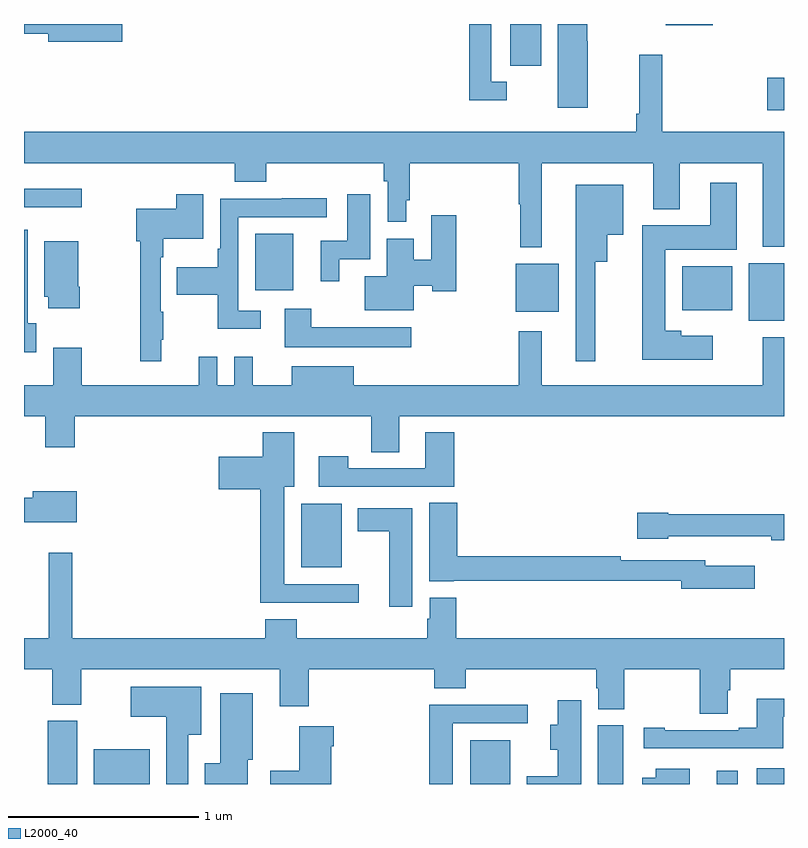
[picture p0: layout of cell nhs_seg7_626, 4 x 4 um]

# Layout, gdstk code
import gdstk
lib = gdstk.Library(unit=1e-6, precision=1e-09)
def R(c, l, rs):  # rectangles x0, y0, x1, y1
    for r in rs: c.add(gdstk.rectangle(r[:2], r[2:], *l))
def P(c, l, *ps):  # polygons
    for p in ps: c.add(gdstk.Polygon(p, *l))
L2000_40 = (2000, 40)

nhs_seg7_626 = lib.new_cell('nhs_seg7_626')
R(nhs_seg7_626, L2000_40, [(159.125,1012,159.28,1012.332), (159.368,1012,159.661,1012.183), (161.348,1012,161.56,1012.231), (162.02,1012,162.154,1012.308), (162.647,1012,162.757,1012.069), (162.857,1012,163,1012.084), (160.46,1013.141,160.672,1013.476), (162.815,1014.437,163,1014.742), (161.588,1014.485,161.815,1014.739), (162.464,1014.494,162.727,1014.724), (160.217,1014.599,160.417,1014.895), (159,1015.035,159.304,1015.132), (162.912,1015.547,163,1015.718), (161.558,1015.779,161.722,1016), (162.378,1015.994,162.625,1016)])
P(nhs_seg7_626, L2000_40, [(161.542,1015.695),(161.46,1015.695),(161.46,1016),(161.344,1016),(161.344,1015.598),(161.542,1015.598)],
  [(161.968,1015.908),(161.965,1015.908),(161.965,1016),(161.81,1016),(161.81,1015.56),(161.968,1015.56)],
  [(159.517,1016),(159,1016),(159,1015.948),(159.128,1015.948),(159.128,1015.906),(159.517,1015.906)],
  [(161.725,1015.268),(162.311,1015.268),(162.311,1015.025),(162.451,1015.025),(162.451,1015.268),(162.887,1015.268),(162.887,1014.827),(163,1014.827),(163,1015.432),(162.359,1015.432),(162.359,1015.837),(162.238,1015.837),(162.238,1015.528),(162.223,1015.528),(162.223,1015.432),(159,1015.432),(159,1015.268),(160.109,1015.268),(160.109,1015.169),(160.274,1015.169),(160.274,1015.268),(160.894,1015.268),(160.894,1015.172),(160.914,1015.172),(160.914,1014.96),(161.011,1014.96),(161.011,1015.072),(161.03,1015.072),(161.03,1015.268),(161.604,1015.268),(161.604,1015.052),(161.611,1015.052),(161.611,1014.824),(161.725,1014.824)],
  [(162.625,1014.358),(162.459,1014.358),(162.459,1014.385),(162.376,1014.385),(162.376,1014.812),(162.751,1014.812),(162.751,1015.165),(162.611,1015.165),(162.611,1014.94),(162.254,1014.94),(162.254,1014.233),(162.625,1014.233)],
  [(162.007,1014.749),(162.07,1014.749),(162.07,1014.89),(162.154,1014.89),(162.154,1015.153),(161.903,1015.153),(161.903,1014.225),(162.007,1014.225)],
  [(159.722,1014.337),(159.733,1014.337),(159.733,1014.485),(159.72,1014.485),(159.72,1014.773),(159.733,1014.773),(159.733,1014.869),(159.943,1014.869),(159.943,1015.105),(159.8,1015.105),(159.8,1015.027),(159.59,1015.027),(159.59,1014.857),(159.612,1014.857),(159.612,1014.225),(159.722,1014.225)],
  [(160.66,1014.762),(160.822,1014.762),(160.822,1015.105),(160.7,1015.105),(160.7,1014.858),(160.562,1014.858),(160.562,1014.645),(160.66,1014.645)],
  [(160.246,1014.492),(160.128,1014.492),(160.128,1014.984),(160.594,1014.984),(160.594,1015.082),(160.357,1015.082),(160.357,1015.08),(160.032,1015.08),(160.032,1014.817),(160.02,1014.817),(160.02,1014.721),(159.805,1014.721),(159.805,1014.574),(160.02,1014.574),(160.02,1014.395),(160.246,1014.395)],
  [(161.05,1014.623),(161.148,1014.623),(161.148,1014.593),(161.274,1014.593),(161.274,1014.994),(161.144,1014.994),(161.144,1014.758),(161.05,1014.758),(161.05,1014.871),(160.91,1014.871),(160.91,1014.673),(160.793,1014.673),(160.793,1014.494),(161.05,1014.494)],
  [(159.064,1014.426),(159.019,1014.426),(159.019,1014.916),(159,1014.916),(159,1014.272),(159.064,1014.272)],
  [(159.294,1014.616),(159.286,1014.616),(159.286,1014.856),(159.107,1014.856),(159.107,1014.564),(159.128,1014.564),(159.128,1014.504),(159.294,1014.504)],
  [(161.038,1014.403),(160.513,1014.403),(160.513,1014.502),(160.373,1014.502),(160.373,1014.299),(161.038,1014.299)],
  [(159.266,1013.936),(160.828,1013.936),(160.828,1013.746),(160.975,1013.746),(160.975,1013.936),(163,1013.936),(163,1014.352),(162.887,1014.352),(162.887,1014.1),(161.725,1014.1),(161.725,1014.382),(161.604,1014.382),(161.604,1014.1),(160.735,1014.1),(160.735,1014.199),(160.409,1014.199),(160.409,1014.1),(160.205,1014.1),(160.205,1014.25),(160.107,1014.25),(160.107,1014.1),(160.017,1014.1),(160.017,1014.25),(159.92,1014.25),(159.92,1014.1),(159.303,1014.1),(159.303,1014.295),(159.155,1014.295),(159.155,1014.1),(159,1014.1),(159,1013.936),(159.113,1013.936),(159.113,1013.772),(159.266,1013.772)],
  [(160.762,1013.052),(160.369,1013.052),(160.369,1013.564),(160.423,1013.564),(160.423,1013.851),(160.256,1013.851),(160.256,1013.722),(160.026,1013.722),(160.026,1013.552),(160.244,1013.552),(160.244,1012.955),(160.762,1012.955)],
  [(161.264,1013.851),(161.111,1013.851),(161.111,1013.661),(160.707,1013.661),(160.707,1013.725),(160.551,1013.725),(160.551,1013.565),(161.264,1013.565)],
  [(159.277,1013.542),(159.047,1013.542),(159.047,1013.506),(159,1013.506),(159,1013.378),(159.277,1013.378)],
  [(162.847,1013.149),(162.586,1013.149),(162.586,1013.178),(162.14,1013.178),(162.14,1013.198),(161.279,1013.198),(161.279,1013.48),(161.132,1013.48),(161.132,1013.066),(161.262,1013.066),(161.262,1013.07),(162.458,1013.07),(162.458,1013.027),(162.847,1013.027)],
  [(161.044,1013.452),(160.757,1013.452),(160.757,1013.33),(160.922,1013.33),(160.922,1012.932),(161.044,1012.932)],
  [(163,1013.42),(162.39,1013.42),(162.39,1013.428),(162.228,1013.428),(162.228,1013.291),(162.39,1013.291),(162.39,1013.304),(162.682,1013.304),(162.682,1013.303),(162.934,1013.303),(162.934,1013.284),(163,1013.284)],
  [(161.159,1012.505),(161.324,1012.505),(161.324,1012.604),(162.011,1012.604),(162.011,1012.503),(162.023,1012.503),(162.023,1012.393),(162.159,1012.393),(162.159,1012.604),(162.556,1012.604),(162.556,1012.369),(162.703,1012.369),(162.703,1012.493),(162.716,1012.493),(162.716,1012.604),(163,1012.604),(163,1012.768),(161.276,1012.768),(161.276,1012.981),(161.135,1012.981),(161.135,1012.869),(161.123,1012.869),(161.123,1012.768),(160.436,1012.768),(160.436,1012.867),(160.271,1012.867),(160.271,1012.768),(159.253,1012.768),(159.253,1013.218),(159.131,1013.218),(159.131,1012.768),(159,1012.768),(159,1012.604),(159.149,1012.604),(159.149,1012.417),(159.301,1012.417),(159.301,1012.604),(160.346,1012.604),(160.346,1012.41),(160.499,1012.41),(160.499,1012.604),(161.159,1012.604)],
  [(159.865,1012.259),(159.934,1012.259),(159.934,1012.513),(159.561,1012.513),(159.561,1012.355),(159.749,1012.355),(159.749,1012),(159.865,1012)],
  [(160.177,1012.128),(160.204,1012.128),(160.204,1012.477),(160.034,1012.477),(160.034,1012.108),(159.95,1012.108),(159.95,1012),(160.177,1012)],
  [(162.997,1012.353),(163,1012.353),(163,1012.45),(162.857,1012.45),(162.857,1012.297),(162.761,1012.297),(162.761,1012.284),(162.373,1012.284),(162.373,1012.297),(162.261,1012.297),(162.261,1012.188),(162.997,1012.188)],
  [(161.932,1012.441),(161.81,1012.441),(161.81,1012.311),(161.771,1012.311),(161.771,1012.181),(161.81,1012.181),(161.81,1012.042),(161.645,1012.042),(161.645,1012),(161.932,1012)],
  [(161.257,1012.32),(161.65,1012.32),(161.65,1012.418),(161.132,1012.418),(161.132,1012),(161.257,1012)],
  [(160.618,1012.199),(160.631,1012.199),(160.631,1012.303),(160.448,1012.303),(160.448,1012.071),(160.296,1012.071),(160.296,1012),(160.618,1012)],
  [(162.505,1012.081),(162.326,1012.081),(162.326,1012.033),(162.254,1012.033),(162.254,1012),(162.505,1012)])

lib.write_gds('nhs_seg7_626.gds')
